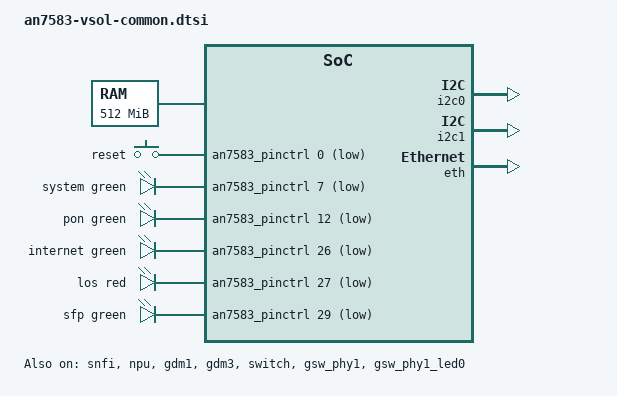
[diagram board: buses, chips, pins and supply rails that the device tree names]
// SPDX-License-Identifier: (GPL-2.0-only OR BSD-2-Clause)
/dts-v1/;

#include <dt-bindings/leds/common.h>
#include <dt-bindings/gpio/gpio.h>
#include <dt-bindings/input/input.h>
#include "an7583.dtsi"

/ {
	aliases {
		serial0 = &uart1;
	};

	chosen {
		bootargs = "console=ttyS0,115200 earlycon";
		stdout-path = "serial0:115200n8";
	};

	memory@80000000 {
		device_type = "memory";
		reg = <0x0 0x80000000 0x0 0x20000000>;
	};

	gpio-keys-polled {
		compatible = "gpio-keys-polled";
		poll-interval = <100>;

		btn-reset {
			label = "reset";
			linux,code = <KEY_RESTART>;
			gpios = <&an7583_pinctrl 0 GPIO_ACTIVE_LOW>;
		};
	};

	leds {
		compatible = "gpio-leds";

		led-system {
			label = "system";
			color = <LED_COLOR_ID_GREEN>;
			function = LED_FUNCTION_POWER;
			gpios = <&an7583_pinctrl 7 GPIO_ACTIVE_LOW>;
		};

		led-pon {
			label = "pon";
			color = <LED_COLOR_ID_GREEN>;
			function = LED_FUNCTION_STATUS;
			gpios = <&an7583_pinctrl 12 GPIO_ACTIVE_LOW>;
		};

		led-internet {
			label = "internet";
			color = <LED_COLOR_ID_GREEN>;
			function = LED_FUNCTION_WAN;
			gpios = <&an7583_pinctrl 26 GPIO_ACTIVE_LOW>;
		};

		led-los {
			label = "los";
			color = <LED_COLOR_ID_RED>;
			function = LED_FUNCTION_STATUS;
			gpios = <&an7583_pinctrl 27 GPIO_ACTIVE_LOW>;
		};

		led-sfp {
			label = "sfp";
			color = <LED_COLOR_ID_GREEN>;
			function = LED_FUNCTION_LAN;
			gpios = <&an7583_pinctrl 29 GPIO_ACTIVE_LOW>;
		};
	};
};

&an7583_pinctrl {
	gpio-ranges = <&an7583_pinctrl 0 2 53>;

	mdio0_pins: mdio0-pins {
		conf {
			pins = "mdio_0";
			output-high;
		};
	};

	pcie0_rst_pins: pcie0-rst-pins {
		conf {
			pins = "pcie_reset0";
			drive-open-drain = <1>;
		};
	};

	pcie1_rst_pins: pcie1-rst-pins {
		conf {
			pins = "pcie_reset1";
			drive-open-drain = <1>;
		};
	};

	gswp1_led0_pins: gswp1-led0-pins {
		mux {
			function = "phy1_led0";
			pins = "gpio1";
		};
	};
};

&snfi {
	status = "okay";
};

&spi_nand {
	partitions {
		compatible = "fixed-partitions";
		#address-cells = <1>;
		#size-cells = <1>;

		bootloader@0 {
			label = "bootloader";
			reg = <0x00000000 0x00080000>;
		};

		tclinux@80000 {
			compatible = "denx,fit";
			label = "tclinux";
			reg = <0x00080000 0x02000000>;
			openwrt,cmdline-match = "boot_part=0";
		};

		tclinux_slave@2080000 {
			compatible = "denx,fit";
			label = "tclinux_slave";
			reg = <0x02080000 0x02000000>;
			openwrt,cmdline-match = "boot_part=1";
		};

		rootfs_data@4080000 {
			compatible = "linux,ubi";
			label = "rootfs_data";
			reg = <0x04080000 0x02800000>;
		};

		factory@6880000 {
			label = "factory";
			reg = <0x06880000 0x00100000>;
		};

		art@6c80000 {
			label = "art";
			reg = <0x06c80000 0x00380000>;
		};
	};
};

&i2c0 {
	status = "okay";
};

&i2c1 {
	status = "okay";
};

&npu {
	status = "okay";
};

&eth {
	status = "okay";
};

&gdm1 {
	status = "okay";
};

&gdm3 {
	status = "okay";
};

&switch {
	status = "okay";
};

&gsw_phy1 {
	status = "okay";
	pinctrl-names = "gbe-led";
	pinctrl-0 = <&gswp1_led0_pins>;
};

&gsw_phy1_led0 {
	status = "okay";
	color = <LED_COLOR_ID_GREEN>;
	active-low;
};

&gsw_port2 {
	status = "disabled";
};

&gsw_port3 {
	status = "disabled";
};

&gsw_port4 {
	status = "disabled";
};

&gsw_phy2 {
	status = "disabled";
};

&gsw_phy3 {
	status = "disabled";
};

&gsw_phy4 {
	status = "disabled";
};
